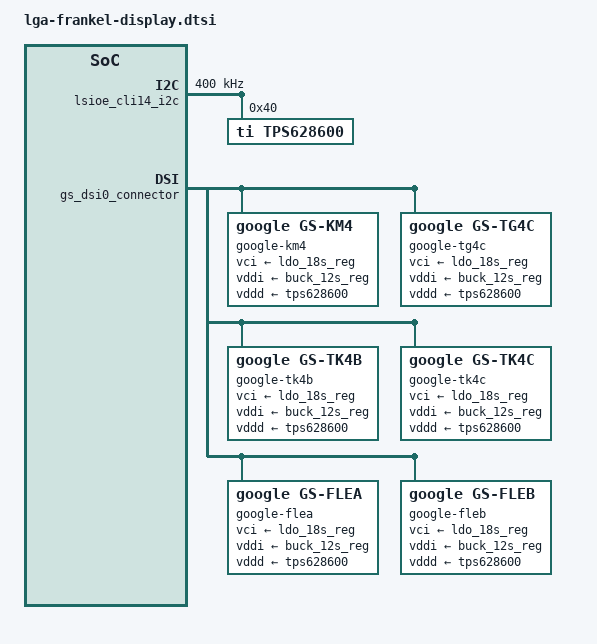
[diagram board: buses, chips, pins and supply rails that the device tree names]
// SPDX-License-Identifier: GPL-2.0-only

#include <dt-bindings/gpio/gpio.h>

&lsioe_cli14_i2c {
	status = "okay";
	#address-cells = <1>;
	#size-cells = <0>;
	clock-frequency = <400000>;
	tps628600: tps628600@40 {
		compatible = "ti,tps628600";
		reg = <0x40>;
		status = "okay";
		regulator-name = "tps628600-reg";
		enable-gpios = <PMICS2DISP0_BUCK_EN(GPIO_ACTIVE_HIGH)>;
	};
};

&gs_dsi0_connector {
	google,preferred-panel = <&google_gs_km4>;

	google_gs_km4: panel-gs-km4 {
		compatible = "google,gs-km4";
		label = "google-km4";
		channel = <0>;

		/* reset, power */
		reset-gpios = <PMICS2DISP0_RESET_L(GPIO_ACTIVE_HIGH)>;
		vci-supply = <&ldo_18s_reg>;
		vddi-supply = <&buck_12s_reg>;
		vddd-supply = <&tps628600>;
		vddd-normal-microvolt = <1112500>;
		vddd-lp-microvolt     = <1062500>;

		/* touch */
		touch = <&spitouch>;
	};
	google_gs_tg4c: panel-gs-tg4c {

		compatible = "google,gs-tg4c";
		label = "google-tg4c";
		channel = <0>;

		/* reset, power */
		reset-gpios = <PMICS2DISP0_RESET_L(GPIO_ACTIVE_HIGH)>;
		vci-supply = <&ldo_18s_reg>;
		vddi-supply = <&buck_12s_reg>;
		vddd-supply = <&tps628600>;
		vddd-normal-microvolt = <1112500>;
		vddd-lp-microvolt     = <1050000>;

		/* touch */
		touch = <&spitouch>;
	};
	google_gs_tk4b: panel-gs-tk4b {

		compatible = "google,gs-tk4b";
		label = "google-tk4b";
		channel = <0>;

		/* reset, power */
		reset-gpios = <PMICS2DISP0_RESET_L(GPIO_ACTIVE_HIGH)>;
		vci-supply = <&ldo_18s_reg>;
		vddi-supply = <&buck_12s_reg>;
		vddd-supply = <&tps628600>;
		vddd-normal-microvolt = <1112500>;
		vddd-lp-microvolt     = <1050000>;

		/* touch */
		touch = <&spitouch>;
	};
	google_gs_tk4c: panel-gs-tk4c {

		compatible = "google,gs-tk4c";
		label = "google-tk4c";
		channel = <0>;

		/* reset, power */
		reset-gpios = <PMICS2DISP0_RESET_L(GPIO_ACTIVE_HIGH)>;
		vci-supply = <&ldo_18s_reg>;
		vddi-supply = <&buck_12s_reg>;
		vddd-supply = <&tps628600>;
		vddd-normal-microvolt = <1112500>;
		vddd-lp-microvolt     = <1050000>;

		/* touch */
		touch = <&spitouch>;
	};

	google_gs_flea: panel-gs-flea {

		compatible = "google,gs-flea";
		label = "google-flea";
		channel = <0>;
		allowed-hs-clks = <756 740>;

		/* reset, power */
		reset-gpios = <PMICS2DISP0_RESET_L(GPIO_ACTIVE_HIGH)>;
		tout-gpios = <DISP0_2_AP_PROX0_TOUT(GPIO_ACTIVE_HIGH)>;
		vci-supply = <&ldo_18s_reg>;
		vddi-supply = <&buck_12s_reg>;
		vddd-supply = <&tps628600>;
		vddd-normal-microvolt = <1000000>;
		vddd-lp-microvolt     = <962500>;
		post-vddd-lp;

		/* touch */
		touch = <&spitouch>;
	};

	google_gs_fleb: panel-gs-fleb {

		compatible = "google,gs-fleb";
		label = "google-fleb";
		channel = <0>;
		allowed-hs-clks = <756 740>;

		/* reset, power */
		reset-gpios = <PMICS2DISP0_RESET_L(GPIO_ACTIVE_HIGH)>;
		tout-gpios = <DISP0_2_AP_PROX0_TOUT(GPIO_ACTIVE_HIGH)>;
		vci-supply = <&ldo_18s_reg>;
		vddi-supply = <&buck_12s_reg>;
		vddd-supply = <&tps628600>;
		vddd-normal-microvolt = <1112500>;
		vddd-lp-microvolt     = <1062500>;
		post-vddd-lp;

		/* touch */
		touch = <&spitouch>;
	};

};

&dsi2h0 {
	datarate = <756>;
};
